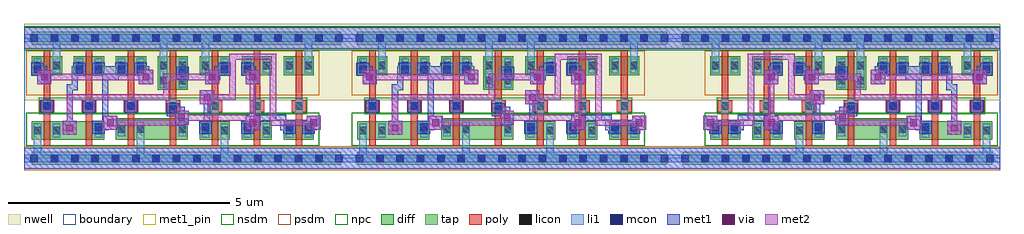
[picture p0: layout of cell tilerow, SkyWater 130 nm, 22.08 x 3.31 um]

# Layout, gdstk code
from math import pi, radians
import gdstk
lib = gdstk.Library(unit=1e-6, precision=1e-09)
def R(c, l, rs):  # rectangles x0, y0, x1, y1
    for r in rs: c.add(gdstk.rectangle(r[:2], r[2:], *l))
def A(c, l, x, y, w, h, nx, ny, dx, dy):  # array of equal rectangles
    R(c, l, [(x+i*dx, y+j*dy, x+i*dx+w, y+j*dy+h) for i in range(nx) for j in range(ny)])
nwell = (64, 20)
diff = (65, 20)
tap = (65, 44)
poly = (66, 20)
licon = (66, 44)
li1 = (67, 20)
mcon = (67, 44)
met1_pin = (68, 16)
met1 = (68, 20)
via = (68, 44)
met2 = (69, 20)
nsdm = (93, 44)
psdm = (94, 20)
npc = (95, 20)
boundary = (235, 4)

maj3 = lib.new_cell('maj3')
R(maj3, nwell, [(0,1.31,7.36,3.045)])
A(maj3, diff, 3.98, 0.415, 0.68, 0.42, 3, 2, 0.95, 1.47)
A(maj3, diff, 0.18, 1.885, 0.68, 0.42, 3, 1, 0.95, 0)
R(maj3, diff, [(0.18,0.415,1.81,0.835), (2.08,0.415,3.71,0.905), (3.03,1.555,3.71,2.305)])
R(maj3, tap, [(0.18,-0.145,7.18,0.145), (0.18,2.575,7.18,2.865)])
A(maj3, poly, 0.445, 0.285, 0.15, 2.15, 7, 1, 0.95, 0)
A(maj3, poly, 0.355, 1.045, 0.33, 0.27, 7, 1, 0.95, 0)
A(maj3, licon, 0.605, -0.085, 0.17, 0.17, 14, 2, 0.46, 2.72)
A(maj3, licon, 0.435, 1.095, 0.17, 0.17, 7, 1, 0.95, 0)
R(maj3, licon, [(0.22,0.54,0.39,0.71), (0.65,0.54,0.82,0.71), (1.6,0.54,1.77,0.71), (4.02,0.54,4.19,0.71), (4.45,0.54,4.62,0.71), (4.97,0.54,5.14,0.71), (5.4,0.54,5.57,0.71), (5.92,0.54,6.09,0.71), (6.35,0.54,6.52,0.71), (2.12,0.575,2.29,0.745), (2.55,0.575,2.72,0.745), (3.5,0.575,3.67,0.745), (3.07,1.675,3.24,1.845), (3.5,1.675,3.67,1.845), (0.22,2.01,0.39,2.18), (0.65,2.01,0.82,2.18), (1.17,2.01,1.34,2.18), (1.6,2.01,1.77,2.18), (2.12,2.01,2.29,2.18), (2.55,2.01,2.72,2.18), (4.02,2.01,4.19,2.18), (4.45,2.01,4.62,2.18), (4.97,2.01,5.14,2.18), (5.4,2.01,5.57,2.18), (5.92,2.01,6.09,2.18), (6.35,2.01,6.52,2.18), (3.07,2.015,3.24,2.185), (3.5,2.015,3.67,2.185)])
A(maj3, li1, 0.435, 1.015, 0.17, 0.33, 7, 1, 0.95, 0)
R(maj3, li1, [(0,-0.085,7.36,0.085), (0.22,-0.085,0.39,0.79), (2.55,-0.085,2.72,0.825), (4.45,-0.085,4.62,0.79), (0.22,0.46,0.39,0.79), (0.65,0.46,0.82,0.79), (1.6,0.46,1.77,0.79), (4.02,0.46,4.19,0.79), (4.45,0.46,4.62,0.79), (4.97,0.46,5.14,0.79), (5.4,0.46,5.57,0.79), (5.92,0.46,6.09,0.79), (6.35,0.46,6.52,0.79), (2.12,0.495,2.29,0.825), (2.55,0.495,2.72,0.825), (3.5,0.495,3.67,0.825), (3.07,1.595,3.24,2.265), (3.07,1.595,3.24,2.805), (3.5,1.595,3.67,2.265), (0.22,1.93,0.39,2.26), (0.65,1.93,0.82,2.26), (0.65,1.93,0.82,2.805), (1.17,1.93,1.34,2.26), (1.6,1.93,1.77,2.26), (2.12,1.93,2.29,2.26), (2.55,1.93,2.72,2.26), (4.02,1.93,4.19,2.26), (4.02,1.93,4.19,2.805), (4.45,1.93,4.62,2.26), (4.97,1.93,5.14,2.26), (5.4,1.93,5.57,2.26), (5.92,1.93,6.09,2.26), (6.35,1.93,6.52,2.26), (6.35,1.93,6.52,2.805), (0,2.635,7.36,2.805)])
A(maj3, mcon, 0.145, -0.085, 0.17, 0.17, 16, 2, 0.46, 2.72)
A(maj3, mcon, 4.02, 0.62, 0.17, 0.17, 3, 1, 0.95, 0)
A(maj3, mcon, 0.435, 1.095, 0.17, 0.17, 3, 1, 0.95, 0)
R(maj3, mcon, [(1.6,0.62,1.77,0.79), (6.35,0.62,6.52,0.79), (3.285,1.015,3.455,1.185), (3.5,1.845,3.67,2.015), (0.22,1.93,0.39,2.1), (1.17,1.93,1.34,2.1), (1.6,1.93,1.77,2.1), (2.12,1.93,2.29,2.1), (2.55,1.93,2.72,2.1), (4.45,1.93,4.62,2.1), (4.97,1.93,5.14,2.1)])
A(maj3, met1_pin, 0.375, 1.035, 0.29, 0.29, 3, 1, 0.95, 0)
R(maj3, met1_pin, [(0,-0.24,7.36,0.24), (3.44,1.785,3.73,2.075), (0,2.48,7.36,2.96)])
A(maj3, met1, 3.96, 0.56, 0.29, 0.29, 3, 1, 0.95, 0)
A(maj3, met1, 5.105, 0.635, 0.14, 0.24, 3, 1, 0.69, 0)
A(maj3, met1, 0.375, 1.035, 0.29, 0.29, 3, 1, 0.95, 0)
A(maj3, met1, 0.39, 1.77, 0.14, 0.315, 3, 1, 0.69, 0)
R(maj3, met1, [(0,-0.24,7.36,0.24), (0.875,0.53,1.195,0.85), (1.54,0.56,1.83,0.85), (6.29,0.56,6.58,0.85), (0.965,0.62,1.105,1.68), (1.615,0.635,1.91,0.775), (1.77,0.635,1.91,0.875), (4.035,0.635,4.21,0.775), (4.07,0.635,4.21,0.875), (4.985,0.635,5.245,0.775), (5.795,0.635,6.075,0.775), (6.365,0.635,6.625,0.775), (1.795,0.645,2.115,0.965), (5.015,0.645,5.335,0.965), (6.395,0.645,6.715,0.965), (1.77,0.735,2.025,0.875), (1.77,0.735,1.91,1.91), (4.07,0.735,4.21,1.45), (5.105,0.735,5.36,0.875), (5.22,0.735,5.36,0.99), (5.795,0.735,5.935,0.99), (3.405,0.76,3.725,1.08), (3.495,0.85,3.635,1.17), (5.22,0.85,5.935,0.99), (3.225,0.955,3.515,1.245), (3.3,1.03,3.635,1.17), (3.98,1.22,4.3,1.54), (0.965,1.54,1.22,1.68), (1.08,1.54,1.22,1.91), (0.3,1.68,0.62,2), (2.6,1.68,2.92,2), (4.095,1.68,4.415,2), (5.015,1.68,5.335,2), (1.77,1.77,2.14,1.91), (1.91,1.77,2,2.085), (2,1.77,2.14,2.085), (2.69,1.77,2.83,2.085), (4.185,1.77,4.44,1.91), (4.3,1.77,4.44,2.085), (5.105,1.77,5.245,2.085), (3.44,1.785,3.73,2.075), (0.16,1.87,0.45,2.16), (1.11,1.87,1.4,2.16), (1.54,1.87,1.83,2.16), (2.06,1.87,2.35,2.16), (2.49,1.87,2.78,2.16), (4.39,1.87,4.68,2.16), (4.91,1.87,5.2,2.16), (0.235,1.945,0.53,2.085), (1.08,1.945,1.325,2.085), (1.615,1.945,1.91,2.085), (1.91,1.945,2,2.085), (2,1.945,2.275,2.085), (2.565,1.945,2.83,2.085), (4.3,1.945,4.605,2.085), (4.985,1.945,5.245,2.085), (0,2.48,7.36,2.96)])
R(maj3, via, [(0.96,0.615,1.11,0.765), (1.88,0.73,2.03,0.88), (5.1,0.73,5.25,0.88), (6.48,0.73,6.63,0.88), (3.49,0.845,3.64,0.995), (4.065,1.305,4.215,1.455), (0.385,1.765,0.535,1.915), (2.685,1.765,2.835,1.915), (4.18,1.765,4.33,1.915), (5.1,1.765,5.25,1.915)])
R(maj3, met2, [(0.875,0.53,1.195,0.85), (0.965,0.62,1.105,1.45), (1.795,0.645,2.115,0.965), (5.015,0.645,5.335,0.965), (6.395,0.645,6.715,0.965), (1.885,0.735,3.635,0.875), (3.495,0.735,3.635,0.99), (5.105,0.735,5.245,1.91), (5.565,0.735,6.625,0.875), (5.565,0.735,5.705,2.37), (3.405,0.76,3.725,1.08), (3.495,0.85,5.245,0.99), (3.98,1.22,4.3,1.54), (0.965,1.31,3.29,1.45), (3.15,1.31,3.29,1.91), (4.07,1.31,4.785,1.45), (4.645,1.31,4.785,2.37), (0.3,1.68,0.62,2), (2.6,1.68,2.92,2), (4.095,1.68,4.415,2), (5.015,1.68,5.335,2), (0.39,1.77,2.83,1.91), (3.15,1.77,4.325,1.91), (4.645,2.23,5.705,2.37)])
R(maj3, nsdm, [(0.055,0.29,6.685,1.03), (0,2.45,7.36,2.99)])
R(maj3, psdm, [(0,-0.27,7.36,0.27), (0.055,1.43,6.685,2.43)])
R(maj3, npc, [(0.335,0.995,6.405,1.365)])
R(maj3, boundary, [(0,0,7.36,2.72)])
maj3.add(gdstk.Label('n2', (0.735,0.625), layer=67, texttype=5))
maj3.add(gdstk.Label('n3', (1.685,0.625), layer=67, texttype=5))
maj3.add(gdstk.Label('n4', (2.205,0.66), layer=67, texttype=5))
maj3.add(gdstk.Label('n5', (4.105,0.625), layer=67, texttype=5))
maj3.add(gdstk.Label('n1', (0.305,2.095), layer=67, texttype=5))
maj3.add(gdstk.Label('n7', (1.255,2.095), layer=67, texttype=5))
maj3.add(gdstk.Label('n6', (5.485,2.095), layer=67, texttype=5))
maj3.add(gdstk.Label('A', (0.52,1.18), layer=68, texttype=5))
maj3.add(gdstk.Label('B', (1.47,1.18), layer=68, texttype=5))
maj3.add(gdstk.Label('C', (2.42,1.18), layer=68, texttype=5))
maj3.add(gdstk.Label('X', (3.585,1.93), layer=68, texttype=5))
maj3.add(gdstk.Label('VPWR', (3.68,2.72), layer=68, texttype=5))
maj3.add(gdstk.Label('VGND', (3.68,0), layer=68, texttype=5))
maj3.add(gdstk.Label('A', (0.52,1.18), layer=68, texttype=16))
maj3.add(gdstk.Label('B', (1.47,1.18), layer=68, texttype=16))
maj3.add(gdstk.Label('C', (2.42,1.18), layer=68, texttype=16))
maj3.add(gdstk.Label('X', (3.585,1.93), layer=68, texttype=16))
maj3.add(gdstk.Label('VPWR', (3.68,2.72), layer=68, texttype=16))
maj3.add(gdstk.Label('VGND', (3.68,0), layer=68, texttype=16))

tilerow = lib.new_cell('tilerow')
tilerow.add(gdstk.Reference(maj3, (0,0)))
tilerow.add(gdstk.Reference(maj3, (7.36,0)))
tilerow.add(gdstk.Reference(maj3, (22.08,0), rotation=pi, x_reflection=True))

lib.write_gds('tilerow.gds')
